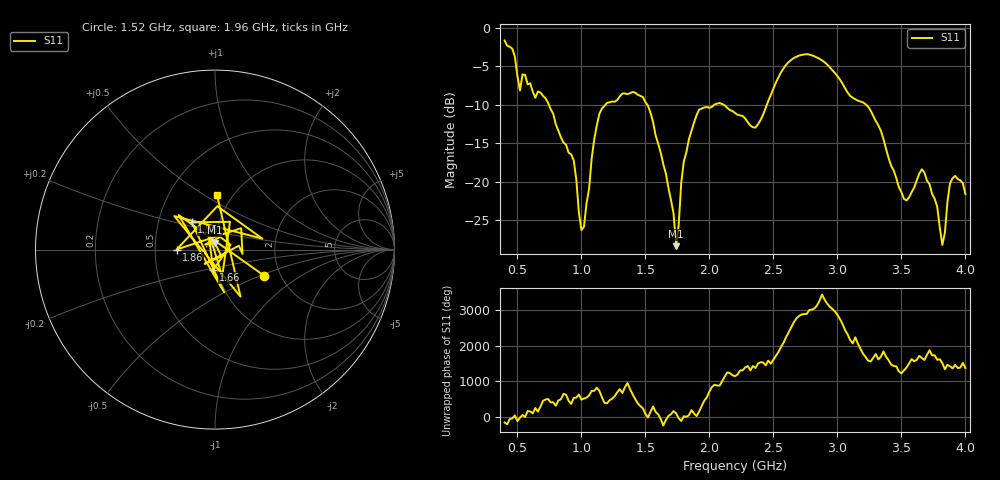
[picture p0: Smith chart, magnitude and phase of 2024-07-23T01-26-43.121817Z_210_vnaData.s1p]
!Created with skrf (http://scikit-rf.org).
# Hz S RI R 50.0
!freq ReS11 ImS11
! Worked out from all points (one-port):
!   181 points, 400 MHz to 4 GHz, reference 50 ohm
!   lowest |S11| = -28.4 dB at 1.74 GHz (marker M1), VSWR 1.08, Z = 49.8 + j3.8 ohm
!   |S11| at or under -10 dB: 745.5 MHz to 1.189 GHz (443.3 MHz wide, 45.8 % of centre); 1.514 GHz to 2.039 GHz (524.9 MHz wide, 29.5 % of centre); 3.224 GHz to end of sweep (the widest 3 of 4)
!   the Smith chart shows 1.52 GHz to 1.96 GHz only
!   S11 on the Smith chart (normalised r, x): 1.52 GHz: 1.65, -0.53; 1.58 GHz: 0.74, +0.23; 1.66 GHz: 0.96, -0.22; 1.86 GHz: 0.65, +0.00; 1.96 GHz: 0.85, +0.57
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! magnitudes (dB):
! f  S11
! 400 MHz  -1.7
! 480 MHz  -3.7
! 520 MHz  -8.2
! 720 MHz  -9.2
! 860 MHz  -14.9
! 940 MHz  -17.2
! 1 GHz  -26.3
! 1.14 GHz  -11.2
! 1.3 GHz  -8.9
! 1.52 GHz  -10.1
! 1.58 GHz  -14.0
! 1.66 GHz  -18.9
! 1.74 GHz  -28.4
! 1.76 GHz  -25.6
! 1.8 GHz  -17.4
! 1.86 GHz  -13.4
! 1.96 GHz  -10.4
! 2.2 GHz  -11.1
! 2.36 GHz  -13.0
! 2.66 GHz  -3.9
! 3.1 GHz  -8.9
! 3.26 GHz  -10.8
! 3.56 GHz  -22.0
! 3.68 GHz  -18.8
! 3.78 GHz  -23.3
! 3.82 GHz  -28.2
! 3.88 GHz  -20.2
! 4 GHz  -21.6
